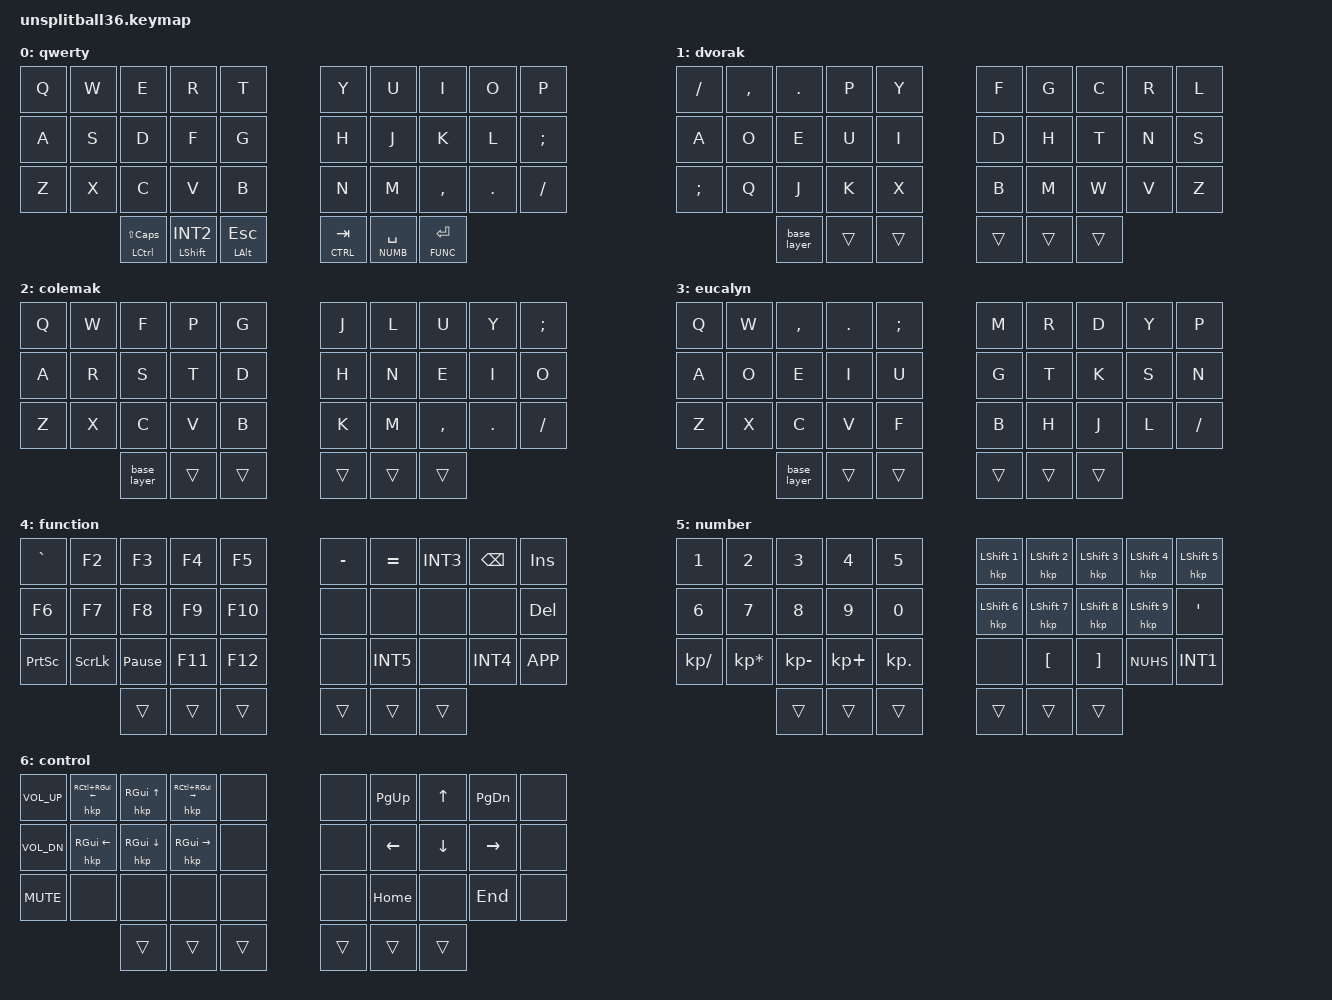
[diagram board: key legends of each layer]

#include <behaviors.dtsi>
#include <dt-bindings/zmk/bt.h>
#include <dt-bindings/zmk/keys.h>
#include <dt-bindings/zmk/outputs.h>
#include <dt-bindings/zmk/pointing.h>
#include <input/processors/sensor_rotation.dtsi>

#define QWERTY	0
#define DVORAK	1
#define COLEMAK	2
#define EUCALYN	3
#define FUNC	4
#define NUMB	5
#define CTRL	6

#define NONE &none &none &none &none &none &none &none &none &none &none &none &none &none &none &none &none &none &none \
             &none &none &none &none &none &none &none &none &none &none &none &none &none &none &none &none &none &none

&lt { flavor = "hold-preferred"; };
&mt { flavor = "hold-preferred"; quick-tap-ms = <300>; };

/ {
	behaviors {
		
		mkp_2mb1: mkp_2mb1 {
			compatible = "zmk,behavior-macro";
			#binding-cells = <0>;
			bindings = <&macro_tap &mkp MB1 &mkp MB1>;
		};
		
		mkp_3mb1: mkp_3mb1 {
			compatible = "zmk,behavior-macro";
			#binding-cells = <0>;
			bindings = <&macro_tap &mkp MB1 &mkp MB1 &mkp MB1>;
		};
		
		hkp: hkp {
			compatible = "zmk,behavior-macro-two-param";
			#binding-cells = <2>;
			bindings
					= <&macro_param_1to1>, <&macro_press &kp MACRO_PLACEHOLDER>
					, <&macro_param_2to1>, <&macro_press &kp MACRO_PLACEHOLDER>
					, <&macro_pause_for_release>
					, <&macro_param_2to1>, <&macro_release &kp MACRO_PLACEHOLDER>
					, <&macro_param_1to1>, <&macro_release &kp MACRO_PLACEHOLDER>
			;
		};
		
		home: home {
			compatible = "zmk,behavior-macro";
			#binding-cells = <0>;
			bindings = <&macro_tap &kp A &kp S &kp D &kp F &kp SEMI &kp L &kp K &kp J>;
		};
		
		base_layer: base_layer {
			compatible = "zmk,behavior-tap-dance";
			#binding-cells = <0>;
			tapping-term-ms = <1000>;
			bindings = <&to QWERTY>, <&to DVORAK>, <&to COLEMAK>, <&to EUCALYN>;
		};

        ctrl_pgup: ctrl_pgup {
            compatible = "zmk,behavior-macro";
            #binding-cells = <0>;
            bindings = <&hkp LCTRL PG_UP>;
        };

        ctrl_pgdn: ctrl_pgdn {
            compatible = "zmk,behavior-macro";
            #binding-cells = <0>;
            bindings = <&hkp LCTRL PG_DN>;
        };

        ctrl_home: ctrl_home {
            compatible = "zmk,behavior-macro";
            #binding-cells = <0>;
            bindings = <&hkp LCTRL HOME>;
        };

        ctrl_end: ctrl_end {
            compatible = "zmk,behavior-macro";
            #binding-cells = <0>;
            bindings = <&hkp LCTRL END>;
        };
	};
	
	keymap {
		
		compatible = "zmk,keymap";
		qwerty {
			bindings = <
				&kp Q	&kp W		&kp E			&kp R			&kp T			&kp Y			&kp U	&kp I		&kp O		&kp P
				&kp A	&kp S		&kp D			&kp F			&kp G			&kp H			&kp J	&kp K		&kp L		&kp SEMI
				&kp Z	&kp X		&kp C			&kp V			&kp B			&kp N			&kp M	&kp COMMA	&kp DOT		&kp SLASH
						&mt LCTRL LS(CAPSLOCK)	&mt LSHFT INT2	&mt LALT ESC	&lt CTRL TAB	&lt NUMB SPACE	&lt FUNC ENTER
			>;
		};
		dvorak {
			bindings = <
				&kp SLASH	&kp COMMA		&kp DOT		&kp P	&kp Y	&kp F	&kp G	&kp C	&kp R	&kp L
				&kp A		&kp O			&kp E		&kp U	&kp I	&kp D	&kp H	&kp T	&kp N	&kp S
				&kp SEMI	&kp Q			&kp J		&kp K	&kp X	&kp B	&kp M	&kp W	&kp V	&kp Z
							&base_layer		&trans		&trans	&trans	&trans	&trans
			>;
		};
		colemak {
			bindings = <
				&kp Q	&kp W		&kp F	&kp P	&kp G	&kp J	&kp L	&kp U		&kp Y	&kp SEMI
				&kp A	&kp R		&kp S	&kp T	&kp D	&kp H	&kp N	&kp E		&kp I	&kp O
				&kp Z	&kp X		&kp C	&kp V	&kp B	&kp K	&kp M	&kp COMMA	&kp DOT	&kp SLASH
						&base_layer	&trans	&trans	&trans	&trans	&trans
			>;
		};
		eucalyn {
			bindings = <
				&kp Q	&kp W		&kp COMMA	&kp DOT		&kp SEMI	&kp M	&kp R	&kp D	&kp Y	&kp P
				&kp A	&kp O		&kp E		&kp I		&kp U		&kp G	&kp T	&kp K	&kp S	&kp N
				&kp Z	&kp X		&kp C		&kp V		&kp F		&kp B	&kp H	&kp J	&kp L	&kp SLASH
						&base_layer	&trans		&trans		&trans		&trans	&trans
			>;
		};
		function {
			bindings = <
				&kp GRAVE	&kp F2		&kp F3				&kp F4		&kp F5		&kp MINUS	&kp EQUAL	&kp INT3	&kp BSPC	&kp INS
				&kp F6		&kp F7		&kp F8				&kp F9		&kp F10		&none		&none		&none		&none		&kp DEL
				&kp PSCRN	&kp SLCK	&kp PAUSE_BREAK	&kp F11		&kp F12		&none		&kp INT5	&none		&kp INT4	&kp K_APP
							&trans		&trans			&trans		&trans		&trans		&trans
			>;
		};
		number {
			bindings = <
				&kp N1			&kp N2				&kp N3			&kp N4			&kp N5			&hkp LSHFT N1	&hkp LSHFT N2	&hkp LSHFT N3	&hkp LSHFT N4	&hkp LSHFT N5
				&kp N6			&kp N7				&kp N8			&kp N9			&kp N0			&hkp LSHFT N6	&hkp LSHFT N7	&hkp LSHFT N8	&hkp LSHFT N9	&kp SQT
				&kp KP_SLASH	&kp KP_ASTERISK		&kp KP_MINUS	&kp KP_PLUS		&kp KP_DOT		&none			&kp LBKT		&kp RBKT		&kp NUHS		&kp INT1
								&trans				&trans			&trans			&trans			&trans			&trans
			>;
		};
		control {
			bindings = <
				&kp C_VOL_UP	&hkp RC(RGUI) LEFT	&hkp RGUI UP	&hkp RC(RGUI) RIGHT		&none			&none	&kp PG_UP	&kp UP		&kp PG_DN	&none
				&kp C_VOL_DN	&hkp RGUI LEFT		&hkp RGUI DOWN	&hkp RGUI RIGHT			&none			&none	&kp LEFT	&kp DOWN	&kp RIGHT	&none
				&kp C_MUTE		&none				&none			&none					&none			&none	&kp HOME	&none		&kp END		&none
								&trans				&trans				&trans					&trans				&trans	&trans
			>;
		};
	};
	
	combos {
		
		compatible = "zmk,combos";
		
		// bootloader
		bootloader	{ slow-release; timeout-ms = <35>; key-positions = <0 10 20>; bindings = <&bootloader>; };
		
		// bt
		bt_sel_0	{ slow-release; timeout-ms = <35>; key-positions = < 5 15>; bindings = <&bt BT_SEL 0>; };
		bt_sel_1	{ slow-release; timeout-ms = <35>; key-positions = < 6 16>; bindings = <&bt BT_SEL 1>; };
		bt_sel_2	{ slow-release; timeout-ms = <35>; key-positions = < 7 17>; bindings = <&bt BT_SEL 2>; };
		bt_sel_3	{ slow-release; timeout-ms = <35>; key-positions = < 8 18>; bindings = <&bt BT_SEL 3>; };
		bt_sel_4	{ slow-release; timeout-ms = <35>; key-positions = < 9 19>; bindings = <&bt BT_SEL 4>; };
		bt_clr		{ slow-release; timeout-ms = <35>; key-positions = <9 19 29>; bindings = <&bt BT_CLR>; };
		out_tog		{ slow-release; timeout-ms = <35>; key-positions = <5 15 25>; bindings = <&out OUT_TOG>; };
		
		// macro
		home	{ slow-release; timeout-ms = <35>; key-positions = <13 16>; bindings = <&home>; };
        ctrl_home	{ slow-release; timeout-ms = <35>; key-positions = <5 6>; bindings = <&ctrl_home>; };
        ctrl_pgup	{ slow-release; timeout-ms = <35>; key-positions = <6 7>; bindings = <&ctrl_pgup>; };
        ctrl_pgdn	{ slow-release; timeout-ms = <35>; key-positions = <7 8>; bindings = <&ctrl_pgdn>; };
        ctrl_end	{ slow-release; timeout-ms = <35>; key-positions = <8 9>; bindings = <&ctrl_end>; };
		
		// mouse button
		single_mb1	{ slow-release; timeout-ms = <35>; key-positions = <16 17>; bindings = <&mkp MB1>; };
		single_mb2	{ slow-release; timeout-ms = <35>; key-positions = <17 18>; bindings = <&mkp MB2>; };
		single_mb3	{ slow-release; timeout-ms = <35>; key-positions = <16 18>; bindings = <&mkp MB3>; };
		single_mb4	{ slow-release; timeout-ms = <35>; key-positions = <26 27>; bindings = <&mkp MB4>; };
		single_mb5	{ slow-release; timeout-ms = <35>; key-positions = <27 28>; bindings = <&mkp MB5>; };
		double_mb1	{ slow-release; timeout-ms = <35>; key-positions = <16 17 18>; bindings = <&mkp_2mb1>; };
		triple_mb1	{ slow-release; timeout-ms = <35>; key-positions = <26 27 28>; bindings = <&mkp_3mb1>; };
		
		// home row mods
		hrm_lctl		{ slow-release; timeout-ms = <35>; key-positions = <10 11>; bindings = <&kp LCTRL>; };
		hrm_lsht		{ slow-release; timeout-ms = <35>; key-positions = <11 12>; bindings = <&kp LSHFT>; };
		hrm_lalt		{ slow-release; timeout-ms = <35>; key-positions = <12 13>; bindings = <&kp LALT>; };
		hrm_lgui		{ slow-release; timeout-ms = <35>; key-positions = <12 14>; bindings = <&kp LGUI>; };
		hrm_lgui2		{ slow-release; timeout-ms = <35>; key-positions = <2 3>; bindings = <&kp LGUI>; };
		hrm_lgui_lctl	{ slow-release; timeout-ms = <35>; key-positions = <10 14>; bindings = <&kp LG(LCTRL)>; };
		hrm_lgui_lsht	{ slow-release; timeout-ms = <35>; key-positions = <11 14>; bindings = <&kp LG(LSHFT)>; };
		hrm_lgui_lalt	{ slow-release; timeout-ms = <35>; key-positions = <13 14>; bindings = <&kp LG(LALT)>; };
		hrm_lctl_lalt	{ slow-release; timeout-ms = <35>; key-positions = <10 13>; bindings = <&kp LC(LALT)>; };
		hrm_lctl_lsht	{ slow-release; timeout-ms = <35>; key-positions = <10 11 12>; bindings = <&kp LC(LSHFT)>; };
		hrm_lsht_lalt	{ slow-release; timeout-ms = <35>; key-positions = <11 12 13>; bindings = <&kp LS(LALT)>; };
		hrm_lmeh		{ slow-release; timeout-ms = <35>; key-positions = <10 11 12 13>; bindings = <&kp LC(LS(LALT))>; };
	};
};

&sensor_rotation {
	rotation-angle = <0>;
};

/ {
	
	input-processors {
		
		zip_scroll_x_scaler: zip_scroll_x_scaler {
			
			compatible = "zmk,input-processor-scaler";
			#input-processor-cells = <2>;
			type = <INPUT_EV_REL>;
			codes = <INPUT_REL_HWHEEL>;
			track-remainders;
		};
		
		zip_scroll_y_scaler: zip_scroll_y_scaler {
			
			compatible = "zmk,input-processor-scaler";
			#input-processor-cells = <2>;
			type = <INPUT_EV_REL>;
			codes = <INPUT_REL_WHEEL>;
			track-remainders;
		};
	};
	
	trackball_listener: trackball_listener {
		
		input-processors
			= <&sensor_rotation>
			, <&zip_x_scaler 2 5>
			, <&zip_y_scaler 2 5>
			, <&zip_xy_transform (INPUT_TRANSFORM_X_INVERT | INPUT_TRANSFORM_Y_INVERT)>
		;
		
		vertical_scroller {
			
			layers = <FUNC>;
			process-next;
			input-processors
				= <&zip_xy_to_scroll_mapper>
				, <&zip_scroll_x_scaler 0 32>
				, <&zip_scroll_y_scaler 1 32>
				, <&zip_scroll_transform (INPUT_TRANSFORM_X_INVERT)>
			;
		};
		
		horizontal_scroller {
			
			layers = <NUMB>;
			process-next;
			input-processors
				= <&zip_xy_to_scroll_mapper>
				, <&zip_scroll_y_scaler 0 32>
				, <&zip_scroll_x_scaler 1 32>
				, <&zip_scroll_transform (INPUT_TRANSFORM_X_INVERT)>
			;
		};
	};
};
